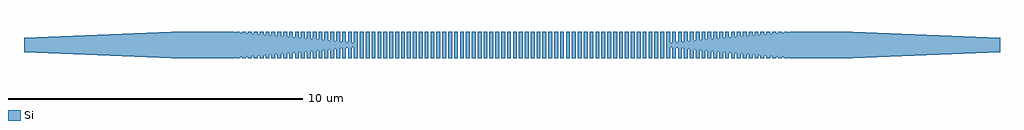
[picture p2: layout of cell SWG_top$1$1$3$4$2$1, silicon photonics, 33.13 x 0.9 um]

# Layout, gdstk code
import gdstk
lib = gdstk.Library(unit=1e-6, precision=1e-09)
def R(c, l, rs):  # rectangles x0, y0, x1, y1
    for r in rs: c.add(gdstk.rectangle(r[:2], r[2:], *l))
def P(c, l, *ps):  # polygons
    for p in ps: c.add(gdstk.Polygon(p, *l))
Si = (1, 0)

taper_right2_1_1_3_4_2_1 = lib.new_cell('taper_right2$1$1$3$4$2$1')
P(taper_right2_1_1_3_4_2_1, Si, [(18.935,0.394),(14.745,0.769),(14.745,0.919),(18.935,1.293)])

swg_top_period_48_1_1_3_ = lib.new_cell('SWG_top_period_48$1$1$3$4$2$1')
R(swg_top_period_48_1_1_3_, Si, [(9.535,0.395,9.665,1.294)])

swg_top_period_49_1_1_3_ = lib.new_cell('SWG_top_period_49$1$1$3$4$2$1')
R(swg_top_period_49_1_1_3_, Si, [(9.735,0.395,9.865,1.294)])

swg_top_period_50_1_1_3_ = lib.new_cell('SWG_top_period_50$1$1$3$4$2$1')
R(swg_top_period_50_1_1_3_, Si, [(9.935,0.395,10.065,1.294)])

swg_top_period_51_1_1_3_ = lib.new_cell('SWG_top_period_51$1$1$3$4$2$1')
R(swg_top_period_51_1_1_3_, Si, [(10.135,0.395,10.265,1.294)])

swg_top_period_52_1_1_3_ = lib.new_cell('SWG_top_period_52$1$1$3$4$2$1')
R(swg_top_period_52_1_1_3_, Si, [(10.335,0.395,10.465,1.294)])

swg_top_period_53_1_1_3_ = lib.new_cell('SWG_top_period_53$1$1$3$4$2$1')
R(swg_top_period_53_1_1_3_, Si, [(10.535,0.395,10.665,1.294)])

swg_top_period_54_1_1_3_ = lib.new_cell('SWG_top_period_54$1$1$3$4$2$1')
R(swg_top_period_54_1_1_3_, Si, [(10.735,0.395,10.865,1.294)])

swg_top_period_55_1_1_3_ = lib.new_cell('SWG_top_period_55$1$1$3$4$2$1')
R(swg_top_period_55_1_1_3_, Si, [(10.935,0.395,11.065,1.294)])

swg_top_period_56_1_1_3_ = lib.new_cell('SWG_top_period_56$1$1$3$4$2$1')
R(swg_top_period_56_1_1_3_, Si, [(11.135,0.395,11.265,1.294)])

swg_top_period_57_1_1_3_ = lib.new_cell('SWG_top_period_57$1$1$3$4$2$1')
R(swg_top_period_57_1_1_3_, Si, [(11.335,0.395,11.465,1.294)])

swg_top_period_58_1_1_3_ = lib.new_cell('SWG_top_period_58$1$1$3$4$2$1')
R(swg_top_period_58_1_1_3_, Si, [(11.535,0.395,11.665,1.294)])

swg_top_period_59_1_1_3_ = lib.new_cell('SWG_top_period_59$1$1$3$4$2$1')
R(swg_top_period_59_1_1_3_, Si, [(11.735,0.395,11.865,1.294)])

swg_top_period_60_1_1_3_ = lib.new_cell('SWG_top_period_60$1$1$3$4$2$1')
R(swg_top_period_60_1_1_3_, Si, [(11.935,0.395,12.065,1.294)])

swg_top_period_61_1_1_3_ = lib.new_cell('SWG_top_period_61$1$1$3$4$2$1')
R(swg_top_period_61_1_1_3_, Si, [(12.135,0.395,12.265,1.294)])

swg_top_period_62_1_1_3_ = lib.new_cell('SWG_top_period_62$1$1$3$4$2$1')
R(swg_top_period_62_1_1_3_, Si, [(12.335,0.395,12.465,1.294)])

swg_top_period_63_1_1_3_ = lib.new_cell('SWG_top_period_63$1$1$3$4$2$1')
R(swg_top_period_63_1_1_3_, Si, [(12.535,0.395,12.665,1.294)])

swg_top_period_64_1_1_3_ = lib.new_cell('SWG_top_period_64$1$1$3$4$2$1')
R(swg_top_period_64_1_1_3_, Si, [(12.735,0.395,12.865,1.294)])

swg_top_period_65_1_1_3_ = lib.new_cell('SWG_top_period_65$1$1$3$4$2$1')
R(swg_top_period_65_1_1_3_, Si, [(12.935,0.395,13.065,1.294)])

swg_top_period_66_1_1_3_ = lib.new_cell('SWG_top_period_66$1$1$3$4$2$1')
R(swg_top_period_66_1_1_3_, Si, [(13.135,0.395,13.265,1.294)])

swg_top_period_67_1_1_3_ = lib.new_cell('SWG_top_period_67$1$1$3$4$2$1')
R(swg_top_period_67_1_1_3_, Si, [(13.335,0.395,13.465,1.294)])

swg_top_period_68_1_1_3_ = lib.new_cell('SWG_top_period_68$1$1$3$4$2$1')
R(swg_top_period_68_1_1_3_, Si, [(13.535,0.395,13.665,1.294)])

swg_top_period_69_1_1_3_ = lib.new_cell('SWG_top_period_69$1$1$3$4$2$1')
R(swg_top_period_69_1_1_3_, Si, [(13.735,0.395,13.865,1.294)])

swg_top_period_70_1_1_3_ = lib.new_cell('SWG_top_period_70$1$1$3$4$2$1')
R(swg_top_period_70_1_1_3_, Si, [(13.935,0.395,14.065,1.294)])

swg_top_period_71_1_1_3_ = lib.new_cell('SWG_top_period_71$1$1$3$4$2$1')
R(swg_top_period_71_1_1_3_, Si, [(14.135,0.395,14.265,1.294)])

swg_top_period_72_1_1_3_ = lib.new_cell('SWG_top_period_72$1$1$3$4$2$1')
R(swg_top_period_72_1_1_3_, Si, [(14.335,0.395,14.465,1.294)])

swg_top_period_73_1_1_3_ = lib.new_cell('SWG_top_period_73$1$1$3$4$2$1')
R(swg_top_period_73_1_1_3_, Si, [(14.535,0.395,14.665,1.294)])

swg_top_period_74_1_1_3_ = lib.new_cell('SWG_top_period_74$1$1$3$4$2$1')
R(swg_top_period_74_1_1_3_, Si, [(14.735,0.395,14.865,1.294)])

swg_top_period_75_1_1_3_ = lib.new_cell('SWG_top_period_75$1$1$3$4$2$1')
R(swg_top_period_75_1_1_3_, Si, [(14.935,0.395,15.065,1.294)])

swg_top_period_76_1_1_3_ = lib.new_cell('SWG_top_period_76$1$1$3$4$2$1')
R(swg_top_period_76_1_1_3_, Si, [(15.135,0.395,15.265,1.294)])

swg_top_period_77_1_1_3_ = lib.new_cell('SWG_top_period_77$1$1$3$4$2$1')
R(swg_top_period_77_1_1_3_, Si, [(15.335,0.395,15.465,1.294)])

swg_top_period_78_1_1_3_ = lib.new_cell('SWG_top_period_78$1$1$3$4$2$1')
R(swg_top_period_78_1_1_3_, Si, [(15.535,0.395,15.665,1.294)])

swg_top_period_79_1_1_3_ = lib.new_cell('SWG_top_period_79$1$1$3$4$2$1')
R(swg_top_period_79_1_1_3_, Si, [(15.735,0.395,15.865,1.294)])

swg_top_period_80_1_1_3_ = lib.new_cell('SWG_top_period_80$1$1$3$4$2$1')
R(swg_top_period_80_1_1_3_, Si, [(15.935,0.395,16.065,1.294)])

swg_top_period_81_1_1_3_ = lib.new_cell('SWG_top_period_81$1$1$3$4$2$1')
R(swg_top_period_81_1_1_3_, Si, [(16.135,0.395,16.265,1.294)])

swg_top_period_82_1_1_3_ = lib.new_cell('SWG_top_period_82$1$1$3$4$2$1')
R(swg_top_period_82_1_1_3_, Si, [(16.335,0.395,16.465,1.294)])

swg_top_period_83_1_1_3_ = lib.new_cell('SWG_top_period_83$1$1$3$4$2$1')
R(swg_top_period_83_1_1_3_, Si, [(16.535,0.395,16.665,1.294)])

swg_top_period_84_1_3_4_ = lib.new_cell('SWG_top_period_84$1$3$4$2$1')
R(swg_top_period_84_1_3_4_, Si, [(16.735,0.395,16.865,1.294)])

swg_top_period_85_1_3_4_ = lib.new_cell('SWG_top_period_85$1$3$4$2$1')
R(swg_top_period_85_1_3_4_, Si, [(16.935,0.395,17.065,1.294)])

swg_top_period_86_1_3_4_ = lib.new_cell('SWG_top_period_86$1$3$4$2$1')
R(swg_top_period_86_1_3_4_, Si, [(17.135,0.395,17.265,1.294)])

swg_top_period_87_1_3_4_ = lib.new_cell('SWG_top_period_87$1$3$4$2$1')
R(swg_top_period_87_1_3_4_, Si, [(17.335,0.395,17.465,1.294)])

swg_top_period_88_1_3_4_ = lib.new_cell('SWG_top_period_88$1$3$4$2$1')
R(swg_top_period_88_1_3_4_, Si, [(17.535,0.395,17.665,1.294)])

swg_top_period_89_1_3_4_ = lib.new_cell('SWG_top_period_89$1$3$4$2$1')
R(swg_top_period_89_1_3_4_, Si, [(17.735,0.395,17.865,1.294)])

swg_top_period_90_1_3_4_ = lib.new_cell('SWG_top_period_90$1$3$4$2$1')
R(swg_top_period_90_1_3_4_, Si, [(17.935,0.395,18.065,1.294)])

swg_top_period_91_1_3_4_ = lib.new_cell('SWG_top_period_91$1$3$4$2$1')
R(swg_top_period_91_1_3_4_, Si, [(18.135,0.395,18.265,1.294)])

swg_top_period_92_1_3_4_ = lib.new_cell('SWG_top_period_92$1$3$4$2$1')
R(swg_top_period_92_1_3_4_, Si, [(18.335,0.395,18.465,1.294)])

swg_top_period_93_1_3_4_ = lib.new_cell('SWG_top_period_93$1$3$4$2$1')
R(swg_top_period_93_1_3_4_, Si, [(18.535,0.395,18.665,1.294)])

swg_top_period_94_1_3_4_ = lib.new_cell('SWG_top_period_94$1$3$4$2$1')
R(swg_top_period_94_1_3_4_, Si, [(18.735,0.395,18.865,1.294)])

swg_top_period_95_1_3_4_ = lib.new_cell('SWG_top_period_95$1$3$4$2$1')
R(swg_top_period_95_1_3_4_, Si, [(18.935,0.395,19.065,1.294)])

right_wg2_1_3_4_2_1 = lib.new_cell('right_wg2$1$3$4$2$1')
R(right_wg2_1_3_4_2_1, Si, [(19.065,0.395,21.065,1.294)])

wg_taper_right2_1_3_4_2_ = lib.new_cell('wg_taper_right2$1$3$4$2$1')
P(wg_taper_right2_1_3_4_2_, Si, [(21.065,0.394),(21.065,1.293),(26.065,1.094),(26.065,0.594)])

swg_top_period_0_1_1_3_4 = lib.new_cell('SWG_top_period_0$1$1$3$4$2$1')
R(swg_top_period_0_1_1_3_4, Si, [(-0.065,0.395,0.065,1.294)])

swg_top_period_1_1_1_3_4 = lib.new_cell('SWG_top_period_1$1$1$3$4$2$1')
R(swg_top_period_1_1_1_3_4, Si, [(0.135,0.395,0.265,1.294)])

swg_top_period_2_1_1_3_4 = lib.new_cell('SWG_top_period_2$1$1$3$4$2$1')
R(swg_top_period_2_1_1_3_4, Si, [(0.335,0.395,0.465,1.294)])

swg_top_period_3_1_1_3_4 = lib.new_cell('SWG_top_period_3$1$1$3$4$2$1')
R(swg_top_period_3_1_1_3_4, Si, [(0.535,0.395,0.665,1.294)])

swg_top_period_4_1_1_3_4 = lib.new_cell('SWG_top_period_4$1$1$3$4$2$1')
R(swg_top_period_4_1_1_3_4, Si, [(0.735,0.395,0.865,1.294)])

swg_top_period_5_1_1_3_4 = lib.new_cell('SWG_top_period_5$1$1$3$4$2$1')
R(swg_top_period_5_1_1_3_4, Si, [(0.935,0.395,1.065,1.294)])

swg_top_period_6_1_1_3_4 = lib.new_cell('SWG_top_period_6$1$1$3$4$2$1')
R(swg_top_period_6_1_1_3_4, Si, [(1.135,0.395,1.265,1.294)])

swg_top_period_7_1_1_3_4 = lib.new_cell('SWG_top_period_7$1$1$3$4$2$1')
R(swg_top_period_7_1_1_3_4, Si, [(1.335,0.395,1.465,1.294)])

swg_top_period_8_1_1_3_4 = lib.new_cell('SWG_top_period_8$1$1$3$4$2$1')
R(swg_top_period_8_1_1_3_4, Si, [(1.535,0.395,1.665,1.294)])

swg_top_period_9_1_1_3_4 = lib.new_cell('SWG_top_period_9$1$1$3$4$2$1')
R(swg_top_period_9_1_1_3_4, Si, [(1.735,0.395,1.865,1.294)])

swg_top_period_10_1_1_3_ = lib.new_cell('SWG_top_period_10$1$1$3$4$2$1')
R(swg_top_period_10_1_1_3_, Si, [(1.935,0.395,2.065,1.294)])

swg_top_period_11_1_1_3_ = lib.new_cell('SWG_top_period_11$1$1$3$4$2$1')
R(swg_top_period_11_1_1_3_, Si, [(2.135,0.395,2.265,1.294)])

swg_top_period_12_1_1_3_ = lib.new_cell('SWG_top_period_12$1$1$3$4$2$1')
R(swg_top_period_12_1_1_3_, Si, [(2.335,0.395,2.465,1.294)])

swg_top_period_13_1_1_3_ = lib.new_cell('SWG_top_period_13$1$1$3$4$2$1')
R(swg_top_period_13_1_1_3_, Si, [(2.535,0.395,2.665,1.294)])

swg_top_period_14_1_1_3_ = lib.new_cell('SWG_top_period_14$1$1$3$4$2$1')
R(swg_top_period_14_1_1_3_, Si, [(2.735,0.395,2.865,1.294)])

swg_top_period_15_1_1_3_ = lib.new_cell('SWG_top_period_15$1$1$3$4$2$1')
R(swg_top_period_15_1_1_3_, Si, [(2.935,0.395,3.065,1.294)])

swg_top_period_16_1_1_3_ = lib.new_cell('SWG_top_period_16$1$1$3$4$2$1')
R(swg_top_period_16_1_1_3_, Si, [(3.135,0.395,3.265,1.294)])

swg_top_period_17_1_1_3_ = lib.new_cell('SWG_top_period_17$1$1$3$4$2$1')
R(swg_top_period_17_1_1_3_, Si, [(3.335,0.395,3.465,1.294)])

swg_top_period_18_1_1_3_ = lib.new_cell('SWG_top_period_18$1$1$3$4$2$1')
R(swg_top_period_18_1_1_3_, Si, [(3.535,0.395,3.665,1.294)])

swg_top_period_19_1_1_3_ = lib.new_cell('SWG_top_period_19$1$1$3$4$2$1')
R(swg_top_period_19_1_1_3_, Si, [(3.735,0.395,3.865,1.294)])

swg_top_period_20_1_1_3_ = lib.new_cell('SWG_top_period_20$1$1$3$4$2$1')
R(swg_top_period_20_1_1_3_, Si, [(3.935,0.395,4.065,1.294)])

swg_top_period_21_1_1_3_ = lib.new_cell('SWG_top_period_21$1$1$3$4$2$1')
R(swg_top_period_21_1_1_3_, Si, [(4.135,0.395,4.265,1.294)])

swg_top_period_22_1_1_3_ = lib.new_cell('SWG_top_period_22$1$1$3$4$2$1')
R(swg_top_period_22_1_1_3_, Si, [(4.335,0.395,4.465,1.294)])

swg_top_period_23_1_1_3_ = lib.new_cell('SWG_top_period_23$1$1$3$4$2$1')
R(swg_top_period_23_1_1_3_, Si, [(4.535,0.395,4.665,1.294)])

swg_top_period_24_1_1_3_ = lib.new_cell('SWG_top_period_24$1$1$3$4$2$1')
R(swg_top_period_24_1_1_3_, Si, [(4.735,0.395,4.865,1.294)])

swg_top_period_25_1_1_3_ = lib.new_cell('SWG_top_period_25$1$1$3$4$2$1')
R(swg_top_period_25_1_1_3_, Si, [(4.935,0.395,5.065,1.294)])

swg_top_period_26_1_1_3_ = lib.new_cell('SWG_top_period_26$1$1$3$4$2$1')
R(swg_top_period_26_1_1_3_, Si, [(5.135,0.395,5.265,1.294)])

swg_top_period_27_1_1_3_ = lib.new_cell('SWG_top_period_27$1$1$3$4$2$1')
R(swg_top_period_27_1_1_3_, Si, [(5.335,0.395,5.465,1.294)])

swg_top_period_28_1_1_3_ = lib.new_cell('SWG_top_period_28$1$1$3$4$2$1')
R(swg_top_period_28_1_1_3_, Si, [(5.535,0.395,5.665,1.294)])

swg_top_period_29_1_1_3_ = lib.new_cell('SWG_top_period_29$1$1$3$4$2$1')
R(swg_top_period_29_1_1_3_, Si, [(5.735,0.395,5.865,1.294)])

swg_top_period_30_1_1_3_ = lib.new_cell('SWG_top_period_30$1$1$3$4$2$1')
R(swg_top_period_30_1_1_3_, Si, [(5.935,0.395,6.065,1.294)])

swg_top_period_31_1_1_3_ = lib.new_cell('SWG_top_period_31$1$1$3$4$2$1')
R(swg_top_period_31_1_1_3_, Si, [(6.135,0.395,6.265,1.294)])

swg_top_period_32_1_1_3_ = lib.new_cell('SWG_top_period_32$1$1$3$4$2$1')
R(swg_top_period_32_1_1_3_, Si, [(6.335,0.395,6.465,1.294)])

swg_top_period_33_1_1_3_ = lib.new_cell('SWG_top_period_33$1$1$3$4$2$1')
R(swg_top_period_33_1_1_3_, Si, [(6.535,0.395,6.665,1.294)])

swg_top_period_34_1_1_3_ = lib.new_cell('SWG_top_period_34$1$1$3$4$2$1')
R(swg_top_period_34_1_1_3_, Si, [(6.735,0.395,6.865,1.294)])

swg_top_period_35_1_1_3_ = lib.new_cell('SWG_top_period_35$1$1$3$4$2$1')
R(swg_top_period_35_1_1_3_, Si, [(6.935,0.395,7.065,1.294)])

swg_top_period_36_1_1_3_ = lib.new_cell('SWG_top_period_36$1$1$3$4$2$1')
R(swg_top_period_36_1_1_3_, Si, [(7.135,0.395,7.265,1.294)])

swg_top_period_37_1_1_3_ = lib.new_cell('SWG_top_period_37$1$1$3$4$2$1')
R(swg_top_period_37_1_1_3_, Si, [(7.335,0.395,7.465,1.294)])

swg_top_period_38_1_1_3_ = lib.new_cell('SWG_top_period_38$1$1$3$4$2$1')
R(swg_top_period_38_1_1_3_, Si, [(7.535,0.395,7.665,1.294)])

swg_top_period_39_1_1_3_ = lib.new_cell('SWG_top_period_39$1$1$3$4$2$1')
R(swg_top_period_39_1_1_3_, Si, [(7.735,0.395,7.865,1.294)])

swg_top_period_40_1_1_3_ = lib.new_cell('SWG_top_period_40$1$1$3$4$2$1')
R(swg_top_period_40_1_1_3_, Si, [(7.935,0.395,8.065,1.294)])

swg_top_period_41_1_1_3_ = lib.new_cell('SWG_top_period_41$1$1$3$4$2$1')
R(swg_top_period_41_1_1_3_, Si, [(8.135,0.395,8.265,1.294)])

swg_top_period_42_1_1_3_ = lib.new_cell('SWG_top_period_42$1$1$3$4$2$1')
R(swg_top_period_42_1_1_3_, Si, [(8.335,0.395,8.465,1.294)])

swg_top_period_43_1_1_3_ = lib.new_cell('SWG_top_period_43$1$1$3$4$2$1')
R(swg_top_period_43_1_1_3_, Si, [(8.535,0.395,8.665,1.294)])

swg_top_period_44_1_1_3_ = lib.new_cell('SWG_top_period_44$1$1$3$4$2$1')
R(swg_top_period_44_1_1_3_, Si, [(8.735,0.395,8.865,1.294)])

swg_top_period_45_1_1_3_ = lib.new_cell('SWG_top_period_45$1$1$3$4$2$1')
R(swg_top_period_45_1_1_3_, Si, [(8.935,0.395,9.065,1.294)])

swg_top_period_46_1_1_3_ = lib.new_cell('SWG_top_period_46$1$1$3$4$2$1')
R(swg_top_period_46_1_1_3_, Si, [(9.135,0.395,9.265,1.294)])

left_wg_1_3_4_2_1 = lib.new_cell('left_wg$1$3$4$2$1')
R(left_wg_1_3_4_2_1, Si, [(-2.065,0.395,-0.065,1.294)])

swg_top_period_47_1_1_3_ = lib.new_cell('SWG_top_period_47$1$1$3$4$2$1')
R(swg_top_period_47_1_1_3_, Si, [(9.335,0.395,9.465,1.294)])

wg_taper_left_1_3_4_2_1 = lib.new_cell('wg_taper_left$1$3$4$2$1')
P(wg_taper_left_1_3_4_2_1, Si, [(-2.065,0.394),(-7.065,0.594),(-7.065,1.094),(-2.065,1.293)])

taper_left_1_1_3_4_2_1 = lib.new_cell('taper_left$1$1$3$4$2$1')
P(taper_left_1_1_3_4_2_1, Si, [(0.065,0.394),(0.065,1.293),(4.255,0.919),(4.255,0.769)])

swg_top_1_1_3_4_2_1 = lib.new_cell('SWG_top$1$1$3$4$2$1')
swg_top_1_1_3_4_2_1.add(gdstk.Reference(taper_right2_1_1_3_4_2_1, (0,0)))
swg_top_1_1_3_4_2_1.add(gdstk.Reference(swg_top_period_48_1_1_3_, (0,0)))
swg_top_1_1_3_4_2_1.add(gdstk.Reference(swg_top_period_49_1_1_3_, (0,0)))
swg_top_1_1_3_4_2_1.add(gdstk.Reference(swg_top_period_50_1_1_3_, (0,0)))
swg_top_1_1_3_4_2_1.add(gdstk.Reference(swg_top_period_51_1_1_3_, (0,0)))
swg_top_1_1_3_4_2_1.add(gdstk.Reference(swg_top_period_52_1_1_3_, (0,0)))
swg_top_1_1_3_4_2_1.add(gdstk.Reference(swg_top_period_53_1_1_3_, (0,0)))
swg_top_1_1_3_4_2_1.add(gdstk.Reference(swg_top_period_54_1_1_3_, (0,0)))
swg_top_1_1_3_4_2_1.add(gdstk.Reference(swg_top_period_55_1_1_3_, (0,0)))
swg_top_1_1_3_4_2_1.add(gdstk.Reference(swg_top_period_56_1_1_3_, (0,0)))
swg_top_1_1_3_4_2_1.add(gdstk.Reference(swg_top_period_57_1_1_3_, (0,0)))
swg_top_1_1_3_4_2_1.add(gdstk.Reference(swg_top_period_58_1_1_3_, (0,0)))
swg_top_1_1_3_4_2_1.add(gdstk.Reference(swg_top_period_59_1_1_3_, (0,0)))
swg_top_1_1_3_4_2_1.add(gdstk.Reference(swg_top_period_60_1_1_3_, (0,0)))
swg_top_1_1_3_4_2_1.add(gdstk.Reference(swg_top_period_61_1_1_3_, (0,0)))
swg_top_1_1_3_4_2_1.add(gdstk.Reference(swg_top_period_62_1_1_3_, (0,0)))
swg_top_1_1_3_4_2_1.add(gdstk.Reference(swg_top_period_63_1_1_3_, (0,0)))
swg_top_1_1_3_4_2_1.add(gdstk.Reference(swg_top_period_64_1_1_3_, (0,0)))
swg_top_1_1_3_4_2_1.add(gdstk.Reference(swg_top_period_65_1_1_3_, (0,0)))
swg_top_1_1_3_4_2_1.add(gdstk.Reference(swg_top_period_66_1_1_3_, (0,0)))
swg_top_1_1_3_4_2_1.add(gdstk.Reference(swg_top_period_67_1_1_3_, (0,0)))
swg_top_1_1_3_4_2_1.add(gdstk.Reference(swg_top_period_68_1_1_3_, (0,0)))
swg_top_1_1_3_4_2_1.add(gdstk.Reference(swg_top_period_69_1_1_3_, (0,0)))
swg_top_1_1_3_4_2_1.add(gdstk.Reference(swg_top_period_70_1_1_3_, (0,0)))
swg_top_1_1_3_4_2_1.add(gdstk.Reference(swg_top_period_71_1_1_3_, (0,0)))
swg_top_1_1_3_4_2_1.add(gdstk.Reference(swg_top_period_72_1_1_3_, (0,0)))
swg_top_1_1_3_4_2_1.add(gdstk.Reference(swg_top_period_73_1_1_3_, (0,0)))
swg_top_1_1_3_4_2_1.add(gdstk.Reference(swg_top_period_74_1_1_3_, (0,0)))
swg_top_1_1_3_4_2_1.add(gdstk.Reference(swg_top_period_75_1_1_3_, (0,0)))
swg_top_1_1_3_4_2_1.add(gdstk.Reference(swg_top_period_76_1_1_3_, (0,0)))
swg_top_1_1_3_4_2_1.add(gdstk.Reference(swg_top_period_77_1_1_3_, (0,0)))
swg_top_1_1_3_4_2_1.add(gdstk.Reference(swg_top_period_78_1_1_3_, (0,0)))
swg_top_1_1_3_4_2_1.add(gdstk.Reference(swg_top_period_79_1_1_3_, (0,0)))
swg_top_1_1_3_4_2_1.add(gdstk.Reference(swg_top_period_80_1_1_3_, (0,0)))
swg_top_1_1_3_4_2_1.add(gdstk.Reference(swg_top_period_81_1_1_3_, (0,0)))
swg_top_1_1_3_4_2_1.add(gdstk.Reference(swg_top_period_82_1_1_3_, (0,0)))
swg_top_1_1_3_4_2_1.add(gdstk.Reference(swg_top_period_83_1_1_3_, (0,0)))
swg_top_1_1_3_4_2_1.add(gdstk.Reference(swg_top_period_84_1_3_4_, (0,0)))
swg_top_1_1_3_4_2_1.add(gdstk.Reference(swg_top_period_85_1_3_4_, (0,0)))
swg_top_1_1_3_4_2_1.add(gdstk.Reference(swg_top_period_86_1_3_4_, (0,0)))
swg_top_1_1_3_4_2_1.add(gdstk.Reference(swg_top_period_87_1_3_4_, (0,0)))
swg_top_1_1_3_4_2_1.add(gdstk.Reference(swg_top_period_88_1_3_4_, (0,0)))
swg_top_1_1_3_4_2_1.add(gdstk.Reference(swg_top_period_89_1_3_4_, (0,0)))
swg_top_1_1_3_4_2_1.add(gdstk.Reference(swg_top_period_90_1_3_4_, (0,0)))
swg_top_1_1_3_4_2_1.add(gdstk.Reference(swg_top_period_91_1_3_4_, (0,0)))
swg_top_1_1_3_4_2_1.add(gdstk.Reference(swg_top_period_92_1_3_4_, (0,0)))
swg_top_1_1_3_4_2_1.add(gdstk.Reference(swg_top_period_93_1_3_4_, (0,0)))
swg_top_1_1_3_4_2_1.add(gdstk.Reference(swg_top_period_94_1_3_4_, (0,0)))
swg_top_1_1_3_4_2_1.add(gdstk.Reference(swg_top_period_95_1_3_4_, (0,0)))
swg_top_1_1_3_4_2_1.add(gdstk.Reference(right_wg2_1_3_4_2_1, (0,0)))
swg_top_1_1_3_4_2_1.add(gdstk.Reference(wg_taper_right2_1_3_4_2_, (0,0)))
swg_top_1_1_3_4_2_1.add(gdstk.Reference(swg_top_period_0_1_1_3_4, (0,0)))
swg_top_1_1_3_4_2_1.add(gdstk.Reference(swg_top_period_1_1_1_3_4, (0,0)))
swg_top_1_1_3_4_2_1.add(gdstk.Reference(swg_top_period_2_1_1_3_4, (0,0)))
swg_top_1_1_3_4_2_1.add(gdstk.Reference(swg_top_period_3_1_1_3_4, (0,0)))
swg_top_1_1_3_4_2_1.add(gdstk.Reference(swg_top_period_4_1_1_3_4, (0,0)))
swg_top_1_1_3_4_2_1.add(gdstk.Reference(swg_top_period_5_1_1_3_4, (0,0)))
swg_top_1_1_3_4_2_1.add(gdstk.Reference(swg_top_period_6_1_1_3_4, (0,0)))
swg_top_1_1_3_4_2_1.add(gdstk.Reference(swg_top_period_7_1_1_3_4, (0,0)))
swg_top_1_1_3_4_2_1.add(gdstk.Reference(swg_top_period_8_1_1_3_4, (0,0)))
swg_top_1_1_3_4_2_1.add(gdstk.Reference(swg_top_period_9_1_1_3_4, (0,0)))
swg_top_1_1_3_4_2_1.add(gdstk.Reference(swg_top_period_10_1_1_3_, (0,0)))
swg_top_1_1_3_4_2_1.add(gdstk.Reference(swg_top_period_11_1_1_3_, (0,0)))
swg_top_1_1_3_4_2_1.add(gdstk.Reference(swg_top_period_12_1_1_3_, (0,0)))
swg_top_1_1_3_4_2_1.add(gdstk.Reference(swg_top_period_13_1_1_3_, (0,0)))
swg_top_1_1_3_4_2_1.add(gdstk.Reference(swg_top_period_14_1_1_3_, (0,0)))
swg_top_1_1_3_4_2_1.add(gdstk.Reference(swg_top_period_15_1_1_3_, (0,0)))
swg_top_1_1_3_4_2_1.add(gdstk.Reference(swg_top_period_16_1_1_3_, (0,0)))
swg_top_1_1_3_4_2_1.add(gdstk.Reference(swg_top_period_17_1_1_3_, (0,0)))
swg_top_1_1_3_4_2_1.add(gdstk.Reference(swg_top_period_18_1_1_3_, (0,0)))
swg_top_1_1_3_4_2_1.add(gdstk.Reference(swg_top_period_19_1_1_3_, (0,0)))
swg_top_1_1_3_4_2_1.add(gdstk.Reference(swg_top_period_20_1_1_3_, (0,0)))
swg_top_1_1_3_4_2_1.add(gdstk.Reference(swg_top_period_21_1_1_3_, (0,0)))
swg_top_1_1_3_4_2_1.add(gdstk.Reference(swg_top_period_22_1_1_3_, (0,0)))
swg_top_1_1_3_4_2_1.add(gdstk.Reference(swg_top_period_23_1_1_3_, (0,0)))
swg_top_1_1_3_4_2_1.add(gdstk.Reference(swg_top_period_24_1_1_3_, (0,0)))
swg_top_1_1_3_4_2_1.add(gdstk.Reference(swg_top_period_25_1_1_3_, (0,0)))
swg_top_1_1_3_4_2_1.add(gdstk.Reference(swg_top_period_26_1_1_3_, (0,0)))
swg_top_1_1_3_4_2_1.add(gdstk.Reference(swg_top_period_27_1_1_3_, (0,0)))
swg_top_1_1_3_4_2_1.add(gdstk.Reference(swg_top_period_28_1_1_3_, (0,0)))
swg_top_1_1_3_4_2_1.add(gdstk.Reference(swg_top_period_29_1_1_3_, (0,0)))
swg_top_1_1_3_4_2_1.add(gdstk.Reference(swg_top_period_30_1_1_3_, (0,0)))
swg_top_1_1_3_4_2_1.add(gdstk.Reference(swg_top_period_31_1_1_3_, (0,0)))
swg_top_1_1_3_4_2_1.add(gdstk.Reference(swg_top_period_32_1_1_3_, (0,0)))
swg_top_1_1_3_4_2_1.add(gdstk.Reference(swg_top_period_33_1_1_3_, (0,0)))
swg_top_1_1_3_4_2_1.add(gdstk.Reference(swg_top_period_34_1_1_3_, (0,0)))
swg_top_1_1_3_4_2_1.add(gdstk.Reference(swg_top_period_35_1_1_3_, (0,0)))
swg_top_1_1_3_4_2_1.add(gdstk.Reference(swg_top_period_36_1_1_3_, (0,0)))
swg_top_1_1_3_4_2_1.add(gdstk.Reference(swg_top_period_37_1_1_3_, (0,0)))
swg_top_1_1_3_4_2_1.add(gdstk.Reference(swg_top_period_38_1_1_3_, (0,0)))
swg_top_1_1_3_4_2_1.add(gdstk.Reference(swg_top_period_39_1_1_3_, (0,0)))
swg_top_1_1_3_4_2_1.add(gdstk.Reference(swg_top_period_40_1_1_3_, (0,0)))
swg_top_1_1_3_4_2_1.add(gdstk.Reference(swg_top_period_41_1_1_3_, (0,0)))
swg_top_1_1_3_4_2_1.add(gdstk.Reference(swg_top_period_42_1_1_3_, (0,0)))
swg_top_1_1_3_4_2_1.add(gdstk.Reference(swg_top_period_43_1_1_3_, (0,0)))
swg_top_1_1_3_4_2_1.add(gdstk.Reference(swg_top_period_44_1_1_3_, (0,0)))
swg_top_1_1_3_4_2_1.add(gdstk.Reference(swg_top_period_45_1_1_3_, (0,0)))
swg_top_1_1_3_4_2_1.add(gdstk.Reference(swg_top_period_46_1_1_3_, (0,0)))
swg_top_1_1_3_4_2_1.add(gdstk.Reference(left_wg_1_3_4_2_1, (0,0)))
swg_top_1_1_3_4_2_1.add(gdstk.Reference(swg_top_period_47_1_1_3_, (0,0)))
swg_top_1_1_3_4_2_1.add(gdstk.Reference(wg_taper_left_1_3_4_2_1, (0,0)))
swg_top_1_1_3_4_2_1.add(gdstk.Reference(taper_left_1_1_3_4_2_1, (0,0)))

lib.write_gds('SWG_top_1_1_3_4_2_1.gds')
